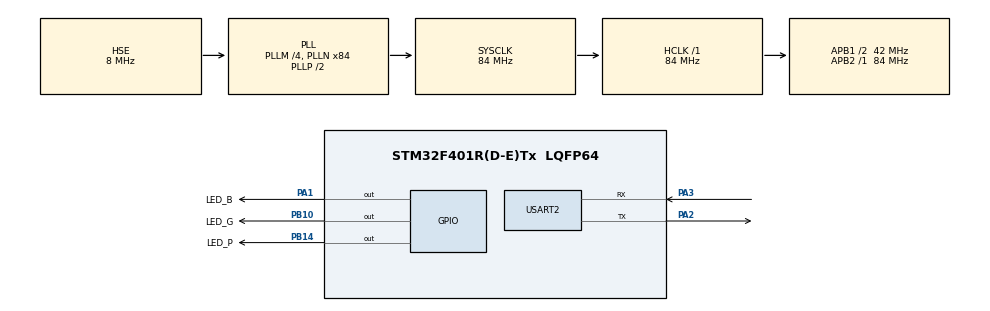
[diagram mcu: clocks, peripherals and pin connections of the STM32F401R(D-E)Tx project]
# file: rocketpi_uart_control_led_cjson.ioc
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Mcu.Family=STM32F4
Mcu.Name=STM32F401R(D-E)Tx
Mcu.Package=LQFP64
NVIC.PriorityGroup=NVIC_PRIORITYGROUP_4
PA1.GPIO_Label=LED_B
PA1.PinState=GPIO_PIN_SET
PA1.Signal=GPIO_Output
PA13.Mode=Serial_Wire
PA13.Signal=SYS_JTMS-SWDIO
PA14.Mode=Serial_Wire
PA14.Signal=SYS_JTCK-SWCLK
PA2.Mode=Asynchronous
PA2.Signal=USART2_TX
PA3.Mode=Asynchronous
PA3.Signal=USART2_RX
PB10.GPIO_Label=LED_G
PB10.PinState=GPIO_PIN_SET
PB10.Signal=GPIO_Output
PB14.GPIO_Label=LED_P
PB14.PinState=GPIO_PIN_SET
PB14.Signal=GPIO_Output
PH0\ -\ OSC_IN.Mode=HSE-External-Oscillator
PH0\ -\ OSC_IN.Signal=RCC_OSC_IN
PH1\ -\ OSC_OUT.Mode=HSE-External-Oscillator
PH1\ -\ OSC_OUT.Signal=RCC_OSC_OUT
ProjectManager.HeapSize=0x800
ProjectManager.StackSize=0x400
ProjectManager.TargetToolchain=MDK-ARM V5.27
RCC.48MHZClocksFreq_Value=42000000
RCC.AHBFreq_Value=84000000
RCC.APB1CLKDivider=RCC_HCLK_DIV2
RCC.APB1Freq_Value=42000000
RCC.APB1TimFreq_Value=84000000
RCC.APB2Freq_Value=84000000
RCC.APB2TimFreq_Value=84000000
RCC.CortexFreq_Value=84000000
RCC.HCLKFreq_Value=84000000
RCC.HSE_VALUE=8000000
RCC.HSI_VALUE=16000000
RCC.LSE_VALUE=32768
RCC.PLLM=4
RCC.PLLN=84
RCC.PLLSourceVirtual=RCC_PLLSOURCE_HSE
RCC.SYSCLKFreq_VALUE=84000000
RCC.SYSCLKSource=RCC_SYSCLKSOURCE_PLLCLK
RCC.VCOOutputFreq_Value=168000000
USART2.VirtualMode=VM_ASYNC
board=custom

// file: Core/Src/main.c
/* USER CODE BEGIN Header */
/**
  ******************************************************************************
  * @file           : main.c
  * @brief          : Main program body
  ******************************************************************************
  * @attention
  *
  * Copyright (c) 2025 STMicroelectronics.
  * All rights reserved.
  *
  * This software is licensed under terms that can be found in the LICENSE file
  * in the root directory of this software component.
  * If no LICENSE file comes with this software, it is provided AS-IS.
  *
  ******************************************************************************
  */
/* USER CODE END Header */
#include "main.h"
#include "usart.h"
#include "gpio.h"

/* USER CODE BEGIN Includes */
#include <stddef.h>
#include <string.h>
#include <stdbool.h>
#include <ctype.h>
#include <stdio.h>
#include "cJSON.h"
/* USER CODE END Includes */

/* USER CODE BEGIN PTD */
enum
{
  LED_TOKEN_COUNT = 3U,
  LED_TOTAL = 3U
};

typedef struct
{
  GPIO_TypeDef *port;
  uint16_t pin;
  const char *tokens[LED_TOKEN_COUNT];
} LedConfig_t;

typedef struct
{
  uint8_t led_index[LED_TOTAL];
  bool states[LED_TOTAL];
  size_t led_count;
  size_t state_count;
} LedCommand_t;
/* USER CODE END PTD */

/* USER CODE BEGIN PD */
#define UART_RX_BUFFER_SIZE 128U
#define LED_NAME_MAX_LEN    16U

#define LED_ACTIVE_LOW      1

#if (LED_ACTIVE_LOW == 1)
#define LED_ON_STATE        GPIO_PIN_RESET
#define LED_OFF_STATE       GPIO_PIN_SET
#else
#define LED_ON_STATE        GPIO_PIN_SET
#define LED_OFF_STATE       GPIO_PIN_RESET
#endif
/* USER CODE END PD */

/* USER CODE BEGIN PV */
static const LedConfig_t g_led_config[LED_TOTAL] =
{
  {LED_B_GPIO_Port, LED_B_Pin, {"B", "BLUE", "LED_B"}},
  {LED_G_GPIO_Port, LED_G_Pin, {"G", "GREEN", "LED_G"}},
  {LED_P_GPIO_Port, LED_P_Pin, {"P", "PINK", "LED_P"}}
};

static char g_rx_buffer[UART_RX_BUFFER_SIZE];
static size_t g_rx_length = 0U;
/* USER CODE END PV */

void SystemClock_Config(void);
/* USER CODE BEGIN PFP */
static void console_send_string(const char *msg);
static void console_send_prompt(void);
static void console_print_examples(void);
static void console_print_gpio_map(void);
static const char *console_skip_spaces(const char *ptr);
static const char *console_port_name(GPIO_TypeDef *port);
static uint32_t console_pin_index(uint16_t pin);
static bool console_str_case_equal(const char *lhs, const char *rhs);
static int8_t console_find_led_by_token(const char *token);
static bool console_add_led_index(LedCommand_t *cmd, uint8_t index);
static bool console_parse_led_targets(const cJSON *root, LedCommand_t *cmd, const char **error_msg);
static bool console_parse_led_token(const char *token, LedCommand_t *cmd, const char **error_msg);
static bool console_state_from_string(const char *token, bool *value);
static bool console_state_from_json(const cJSON *item, bool *value);
static bool console_parse_state_values(const cJSON *root, LedCommand_t *cmd, const char **error_msg);
static bool console_parse_state_token(const cJSON *item, LedCommand_t *cmd, const char **error_msg);
static void console_set_led_state(uint8_t index, bool enabled);
static void console_apply_command(const LedCommand_t *cmd);
static void console_report_result(const LedCommand_t *cmd);
static void console_report_error(const char *message);
static void console_process_command_buffer(void);
static void console_handle_input_byte(uint8_t data);
/* USER CODE END PFP */

/* USER CODE BEGIN 0 */
/* 阻塞方式将字符串输出到调试串口 */
static void console_send_string(const char *msg)
{
  if (msg == NULL)
  {
    return;
  }
  HAL_UART_Transmit(&huart2, (uint8_t *)msg, strlen(msg), HAL_MAX_DELAY);
}

/* 输出命令提示符，提示用户输入下一条指令 */
static void console_send_prompt(void)
{
  console_send_string("\r\n> ");
}

/* 上电后打印欢迎信息与典型命令示例 */
static void console_print_examples(void)
{
  console_send_string("RocketPi UART LED console (cJSON) ready.\r\n");
  console_send_string("Example commands:\r\n");
  console_send_string("  {\"led\":\"B\",\"state\":1}\r\n");
  console_send_string("  {\"led\":[\"B\",\"G\"],\"state\":[1,0]}\r\n");
}

/* 将 GPIO_TypeDef 指针转换为可读字符串 */
static const char *console_port_name(GPIO_TypeDef *port)
{
  if (port == GPIOA) return "GPIOA";
  if (port == GPIOB) return "GPIOB";
  if (port == GPIOC) return "GPIOC";
  if (port == GPIOD) return "GPIOD";
  if (port == GPIOE) return "GPIOE";
  if (port == GPIOH) return "GPIOH";
  return "UNKNOWN";
}

/* 将 GPIO 引脚位图转换成引脚编号（失败返回 0xFFFFFFFF） */
static uint32_t console_pin_index(uint16_t pin)
{
  for (uint32_t i = 0U; i < 16U; ++i)
  {
    if (pin == (uint16_t)(1U << i))
    {
      return i;
    }
  }
  return 0xFFFFFFFFU;
}

/* 上电时输出 LED 与 GPIO 的映射 JSON，用于调试 */
static void console_print_gpio_map(void)
{
  console_send_string("{\"led_config\":[");
  for (size_t i = 0U; i < LED_TOTAL; ++i)
  {
    char buffer[96];
    const uint32_t pin_index = console_pin_index(g_led_config[i].pin);
    const char *delimiter = (i + 1U < LED_TOTAL) ? "," : "";
    (void)snprintf(buffer, sizeof(buffer),
                   "{\"name\":\"%s\",\"port\":\"%s\",\"pin\":%lu}%s",
                   g_led_config[i].tokens[0],
                   console_port_name(g_led_config[i].port),
                   (unsigned long)((pin_index <= 15U) ? pin_index : g_led_config[i].pin),
                   delimiter);
    console_send_string(buffer);
  }
  console_send_string("]}\r\n");
}

/* 在字符串中跳过空白字符，返回第一个有效字符 */
static const char *console_skip_spaces(const char *ptr)
{
  while ((ptr != NULL) && (*ptr != '\0') && isspace((unsigned char)*ptr))
  {
    ++ptr;
  }
  return ptr;
}

/* 忽略大小写比较两个字符串是否一致 */
static bool console_str_case_equal(const char *lhs, const char *rhs)
{
  if ((lhs == NULL) || (rhs == NULL))
  {
    return false;
  }
  while ((*lhs != '\0') && (*rhs != '\0'))
  {
    const int ca = toupper((unsigned char)*lhs);
    const int cb = toupper((unsigned char)*rhs);
    if (ca != cb)
    {
      return false;
    }
    ++lhs;
    ++rhs;
  }
  return (*lhs == '\0') && (*rhs == '\0');
}

/* 根据别名在 LED 配置表中查找索引 */
static int8_t console_find_led_by_token(const char *token)
{
  if (token == NULL)
  {
    return -1;
  }
  for (size_t i = 0U; i < LED_TOTAL; ++i)
  {
    for (size_t alias = 0U; alias < LED_TOKEN_COUNT; ++alias)
    {
      const char *candidate = g_led_config[i].tokens[alias];
      if ((candidate != NULL) && console_str_case_equal(token, candidate))
      {
        return (int8_t)i;
      }
    }
  }
  return -1;
}

/* 向命令结构体中追加一颗 LED 索引并避免重复 */
static bool console_add_led_index(LedCommand_t *cmd, uint8_t index)
{
  if (cmd == NULL)
  {
    return false;
  }

  for (size_t i = 0U; i < cmd->led_count; ++i)
  {
    if (cmd->led_index[i] == index)
    {
      return true;
    }
  }

  if (cmd->led_count >= LED_TOTAL)
  {
    return false;
  }

  cmd->led_index[cmd->led_count++] = index;
  return true;
}

/* 解析单个 LED 标识（含 ALL 关键字）并写入命令 */
static bool console_parse_led_token(const char *token, LedCommand_t *cmd, const char **error_msg)
{
  if ((token == NULL) || (cmd == NULL))
  {
    if (error_msg != NULL)
    {
      *error_msg = "invalid led token";
    }
    return false;
  }

  if (console_str_case_equal(token, "ALL"))
  {
    for (size_t i = 0U; i < LED_TOTAL; ++i)
    {
      if (!console_add_led_index(cmd, (uint8_t)i))
      {
        if (error_msg != NULL)
        {
          *error_msg = "led list overflow";
        }
        return false;
      }
    }
    return true;
  }

  const int8_t led_index = console_find_led_by_token(token);
  if (led_index < 0)
  {
    if (error_msg != NULL)
    {
      *error_msg = "unknown led";
    }
    return false;
  }

  if (!console_add_led_index(cmd, (uint8_t)led_index))
  {
    if (error_msg != NULL)
    {
      *error_msg = "led list overflow";
    }
    return false;
  }

  return true;
}

/* 解析 cJSON 对象中的 led 字段，支持字符串或数组 */
static bool console_parse_led_targets(const cJSON *root, LedCommand_t *cmd, const char **error_msg)
{
  if ((root == NULL) || (cmd == NULL))
  {
    if (error_msg != NULL)
    {
      *error_msg = "invalid led field";
    }
    return false;
  }

  const cJSON *led = cJSON_GetObjectItemCaseSensitive(root, "led");
  if (led == NULL)
  {
    led = cJSON_GetObjectItemCaseSensitive(root, "LED");
  }
  if (led == NULL)
  {
    if (error_msg != NULL)
    {
      *error_msg = "missing led field";
    }
    return false;
  }

  if (cJSON_IsString(led) && (led->valuestring != NULL))
  {
    return console_parse_led_token(led->valuestring, cmd, error_msg);
  }

  if (cJSON_IsArray(led))
  {
    bool parsed = false;
    const cJSON *element = NULL;
    cJSON_ArrayForEach(element, led)
    {
      if (!cJSON_IsString(element) || (element->valuestring == NULL))
      {
        if (error_msg != NULL)
        {
          *error_msg = "invalid led entry";
        }
        return false;
      }
      if (!console_parse_led_token(element->valuestring, cmd, error_msg))
      {
        return false;
      }
      parsed = true;
    }
    if (!parsed)
    {
      if (error_msg != NULL)
      {
        *error_msg = "empty led list";
      }
      return false;
    }
    return true;
  }

  if (error_msg != NULL)
  {
    *error_msg = "invalid led field";
  }
  return false;
}

/* 从字符串解析开关状态（on/off/数字等） */
static bool console_state_from_string(const char *token, bool *value)
{
  if ((token == NULL) || (value == NULL))
  {
    return false;
  }

  const char *ptr = console_skip_spaces(token);
  if (console_str_case_equal(ptr, "on") || console_str_case_equal(ptr, "true") ||
      console_str_case_equal(ptr, "enable"))
  {
    *value = true;
    return true;
  }
  if (console_str_case_equal(ptr, "off") || console_str_case_equal(ptr, "false") ||
      console_str_case_equal(ptr, "disable"))
  {
    *value = false;
    return true;
  }

  bool negative = false;
  if (*ptr == '-')
  {
    negative = true;
    ++ptr;
  }

  if (!isdigit((unsigned char)*ptr))
  {
    return false;
  }

  uint32_t number = 0U;
  while (isdigit((unsigned char)*ptr))
  {
    number = (number * 10U) + (uint32_t)(*ptr - '0');
    ++ptr;
  }

  ptr = console_skip_spaces(ptr);
  if (*ptr != '\0')
  {
    return false;
  }

  *value = (!negative) && (number != 0U);
  return true;
}

/* 根据 cJSON 节点的类型提取状态值 */
static bool console_state_from_json(const cJSON *item, bool *value)
{
  if ((item == NULL) || (value == NULL))
  {
    return false;
  }

  if (cJSON_IsBool(item))
  {
    *value = cJSON_IsTrue(item);
    return true;
  }

  if (cJSON_IsNumber(item))
  {
    *value = (item->valuedouble != 0.0);
    return true;
  }

  if (cJSON_IsString(item) && (item->valuestring != NULL))
  {
    return console_state_from_string(item->valuestring, value);
  }

  return false;
}

/* 解析 state 字段中的单个元素并写入命令 */
static bool console_parse_state_token(const cJSON *item, LedCommand_t *cmd, const char **error_msg)
{
  if ((item == NULL) || (cmd == NULL))
  {
    if (error_msg != NULL)
    {
      *error_msg = "invalid state field";
    }
    return false;
  }

  bool value = false;
  if (!console_state_from_json(item, &value))
  {
    if (error_msg != NULL)
    {
      *error_msg = "invalid state value";
    }
    return false;
  }

  if (cmd->state_count >= LED_TOTAL)
  {
    if (error_msg != NULL)
    {
      *error_msg = "state list overflow";
    }
    return false;
  }

  cmd->states[cmd->state_count++] = value;
  return true;
}

/* 解析 cJSON 对象中的 state 字段（单值或数组） */
static bool console_parse_state_values(const cJSON *root, LedCommand_t *cmd, const char **error_msg)
{
  if ((root == NULL) || (cmd == NULL))
  {
    if (error_msg != NULL)
    {
      *error_msg = "invalid state field";
    }
    return false;
  }

  const cJSON *state = cJSON_GetObjectItemCaseSensitive(root, "state");
  if (state == NULL)
  {
    state = cJSON_GetObjectItemCaseSensitive(root, "STATE");
  }
  if (state == NULL)
  {
    if (error_msg != NULL)
    {
      *error_msg = "missing state field";
    }
    return false;
  }

  if (cJSON_IsArray(state))
  {
    bool parsed = false;
    const cJSON *element = NULL;
    cJSON_ArrayForEach(element, state)
    {
      if (!console_parse_state_token(element, cmd, error_msg))
      {
        return false;
      }
      parsed = true;
    }
    if (!parsed)
    {
      if (error_msg != NULL)
      {
        *error_msg = "empty state list";
      }
      return false;
    }
    return true;
  }

  return console_parse_state_token(state, cmd, error_msg);
}

/* 根据索引设置某颗 LED 的 GPIO 输出状态 */
static void console_set_led_state(uint8_t index, bool enabled)
{
  if (index >= LED_TOTAL)
  {
    return;
  }
  HAL_GPIO_WritePin(g_led_config[index].port,
                    g_led_config[index].pin,
                    enabled ? LED_ON_STATE : LED_OFF_STATE);
}

/* 按解析结果批量设置所有目标 LED */
static void console_apply_command(const LedCommand_t *cmd)
{
  if (cmd == NULL)
  {
    return;
  }
  for (size_t i = 0U; i < cmd->led_count; ++i)
  {
    const size_t state_index = (cmd->state_count == 1U) ? 0U : i;
    const bool desired = cmd->states[state_index];
    console_set_led_state(cmd->led_index[i], desired);
  }
}

/* 执行成功后输出状态 JSON 反馈 */
static void console_report_result(const LedCommand_t *cmd)
{
  if (cmd == NULL)
  {
    return;
  }

  char buffer[192];
  int length = snprintf(buffer, sizeof(buffer), "{\"status\":\"ok\",\"led\":[");
  for (size_t i = 0U; i < cmd->led_count; ++i)
  {
    const char *delimiter = (i + 1U < cmd->led_count) ? "," : "";
    length += snprintf(&buffer[length], (size_t)(sizeof(buffer) - (size_t)length),
                       "\"%s\"%s",
                       g_led_config[cmd->led_index[i]].tokens[0],
                       delimiter);
  }
  length += snprintf(&buffer[length], (size_t)(sizeof(buffer) - (size_t)length),
                     "],\"state\":[");
  for (size_t i = 0U; i < cmd->led_count; ++i)
  {
    const size_t state_index = (cmd->state_count == 1U) ? 0U : i;
    const char *delimiter = (i + 1U < cmd->led_count) ? "," : "";
    length += snprintf(&buffer[length], (size_t)(sizeof(buffer) - (size_t)length),
                       "%u%s",
                       cmd->states[state_index] ? 1U : 0U,
                       delimiter);
  }
  (void)snprintf(&buffer[length], (size_t)(sizeof(buffer) - (size_t)length), "]}\r\n");
  console_send_string(buffer);
}

/* 输出错误 JSON，便于串口调试 */
static void console_report_error(const char *message)
{
  char buffer[160];
  (void)snprintf(buffer, sizeof(buffer),
                 "{\"status\":\"error\",\"msg\":\"%s\"}\r\n",
                 (message != NULL) ? message : "unknown");
  console_send_string(buffer);
}

/* 当接收完成一条命令后，解析并执行 LED 控制 */
static void console_process_command_buffer(void)
{
  g_rx_buffer[g_rx_length] = '\0';
  if (g_rx_length == 0U)
  {
    return;
  }

  cJSON *root = cJSON_Parse(g_rx_buffer);
  if (root == NULL)
  {
    console_report_error("invalid json");
    return;
  }

  LedCommand_t command = {0};
  const char *error_msg = NULL;

  if (!console_parse_led_targets(root, &command, &error_msg))
  {
    cJSON_Delete(root);
    console_report_error((error_msg != NULL) ? error_msg : "invalid led field");
    return;
  }

  if (!console_parse_state_values(root, &command, &error_msg))
  {
    cJSON_Delete(root);
    console_report_error((error_msg != NULL) ? error_msg : "invalid state field");
    return;
  }

  cJSON_Delete(root);

  if (!((command.state_count == 1U) || (command.state_count == command.led_count)))
  {
    console_report_error("state count mismatch");
    return;
  }

  console_apply_command(&command);
  console_report_result(&command);
}

/* 串口逐字节处理函数，负责拼接命令并响应控制字符 */
static void console_handle_input_byte(uint8_t data)
{
  if (data == '\r')
  {
    return;
  }
  if (data == '\n')
  {
    console_process_command_buffer();
    g_rx_length = 0U;
    console_send_prompt();
    return;
  }

  if (g_rx_length >= (UART_RX_BUFFER_SIZE - 1U))
  {
    g_rx_length = 0U;
    console_report_error("command too long");
    console_send_prompt();
    return;
  }

  g_rx_buffer[g_rx_length++] = (char)data;
}
/* USER CODE END 0 */

int main(void)
{

  /* MCU Configuration--------------------------------------------------------*/

  /* Reset of all peripherals, Initializes the Flash interface and the Systick. */
  HAL_Init();

  /* Configure the system clock */
  SystemClock_Config();

  /* Initialize all configured peripherals */
  MX_GPIO_Init();
  MX_USART2_UART_Init();
  /* USER CODE BEGIN 2 */
  console_print_examples();
  console_print_gpio_map();
  console_send_prompt();
  /* USER CODE END 2 */

  /* Infinite loop */
  /* USER CODE BEGIN WHILE */
  while (1)
  {
    uint8_t byte = 0U;
    if (HAL_UART_Receive(&huart2, &byte, 1U, HAL_MAX_DELAY) == HAL_OK)
    {
      console_handle_input_byte(byte);
    }
    /* USER CODE END WHILE */

  }
}

void SystemClock_Config(void)
{
  RCC_OscInitTypeDef RCC_OscInitStruct = {0};
  RCC_ClkInitTypeDef RCC_ClkInitStruct = {0};

  /** Configure the main internal regulator output voltage
  */
  __HAL_RCC_PWR_CLK_ENABLE();
  __HAL_PWR_VOLTAGESCALING_CONFIG(PWR_REGULATOR_VOLTAGE_SCALE2);

  /** Initializes the RCC Oscillators according to the specified parameters
  * in the RCC_OscInitTypeDef structure.
  */
  RCC_OscInitStruct.OscillatorType = RCC_OSCILLATORTYPE_HSE;
  RCC_OscInitStruct.HSEState = RCC_HSE_ON;
  RCC_OscInitStruct.PLL.PLLState = RCC_PLL_ON;
  RCC_OscInitStruct.PLL.PLLSource = RCC_PLLSOURCE_HSE;
  RCC_OscInitStruct.PLL.PLLM = 4;
  RCC_OscInitStruct.PLL.PLLN = 84;
  RCC_OscInitStruct.PLL.PLLP = RCC_PLLP_DIV2;
  RCC_OscInitStruct.PLL.PLLQ = 4;
  if (HAL_RCC_OscConfig(&RCC_OscInitStruct) != HAL_OK)
  {
    Error_Handler();
  }

  /** Initializes the CPU, AHB and APB buses clocks
  */
  RCC_ClkInitStruct.ClockType = RCC_CLOCKTYPE_HCLK|RCC_CLOCKTYPE_SYSCLK
                              |RCC_CLOCKTYPE_PCLK1|RCC_CLOCKTYPE_PCLK2;
  RCC_ClkInitStruct.SYSCLKSource = RCC_SYSCLKSOURCE_PLLCLK;
  RCC_ClkInitStruct.AHBCLKDivider = RCC_SYSCLK_DIV1;
  RCC_ClkInitStruct.APB1CLKDivider = RCC_HCLK_DIV2;
  RCC_ClkInitStruct.APB2CLKDivider = RCC_HCLK_DIV1;

  if (HAL_RCC_ClockConfig(&RCC_ClkInitStruct, FLASH_LATENCY_2) != HAL_OK)
  {
    Error_Handler();
  }
}

void Error_Handler(void)
{
  __disable_irq();
  while (1)
  {
  }
}
